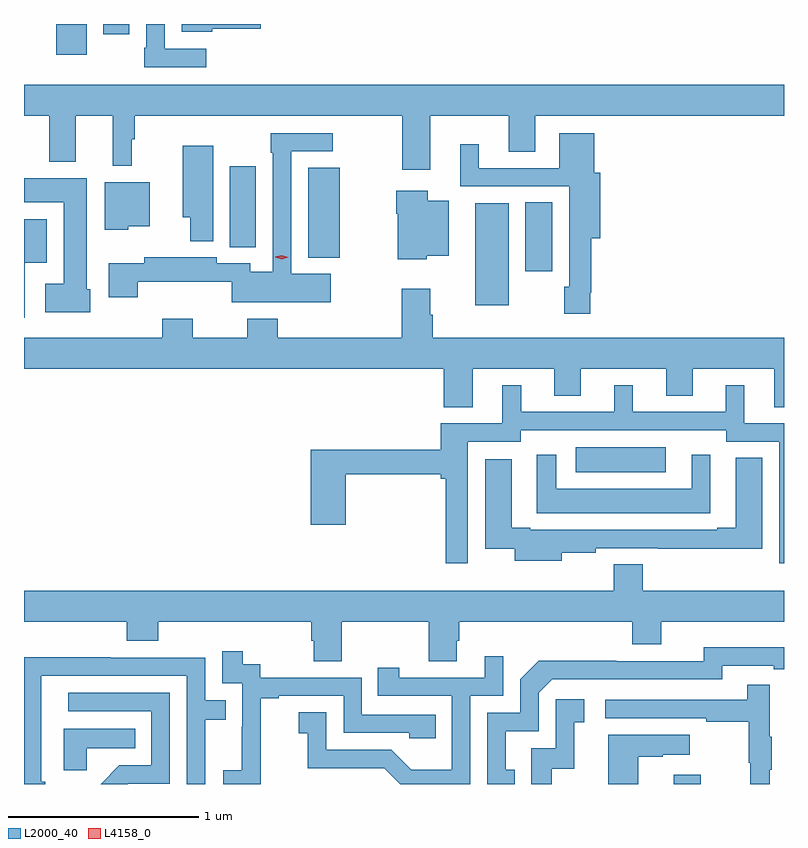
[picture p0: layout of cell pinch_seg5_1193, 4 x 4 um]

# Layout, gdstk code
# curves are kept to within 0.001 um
import gdstk
lib = gdstk.Library(unit=1e-6, precision=1e-09)
def R(c, l, rs):  # rectangles x0, y0, x1, y1
    for r in rs: c.add(gdstk.rectangle(r[:2], r[2:], *l))
def P(c, l, *ps):  # polygons
    for p in ps: c.add(gdstk.Polygon(p, *l))
L2000_40 = (2000, 40)
L4158_0 = (4158, 0)

pinch_seg5_1193 = lib.new_cell('pinch_seg5_1193')
R(pinch_seg5_1193, L2000_40, [(439.415,897.199,439.555,897.247), (438.897,898.841,439.372,898.972), (438.368,899.72,438.544,900.256), (438.632,899.898,438.775,900.26), (437.489,899.969,437.656,900.443), (437.078,900.025,437.215,900.451), (436.163,901.037,436.324,901.199), (436.412,901.146,436.549,901.199)])
P(pinch_seg5_1193, L2000_40, [(436.954,901.068),(436.734,901.068),(436.734,901.199),(436.638,901.199),(436.638,901.075),(436.626,901.075),(436.626,900.972),(436.954,900.972)],
  [(436.986,901.174),(437.239,901.174),(437.239,901.199),(436.823,901.199),(436.823,901.157),(436.986,901.157)],
  [(435.994,900.716),(436.127,900.716),(436.127,900.473),(436.267,900.473),(436.267,900.716),(436.46,900.716),(436.46,900.453),(436.562,900.453),(436.562,900.593),(436.577,900.593),(436.577,900.716),(437.986,900.716),(437.986,900.432),(438.133,900.432),(438.133,900.716),(438.545,900.716),(438.545,900.526),(438.685,900.526),(438.685,900.716),(439.994,900.716),(439.994,900.88),(435.994,900.88)],
  [(438.973,899.785),(438.98,899.785),(438.98,900.071),(439.027,900.071),(439.027,900.415),(438.994,900.415),(438.994,900.625),(438.812,900.625),(438.812,900.441),(438.388,900.441),(438.388,900.565),(438.29,900.565),(438.29,900.345),(438.864,900.345),(438.864,899.817),(438.838,899.817),(438.838,899.673),(438.973,899.673)],
  [(437.608,899.884),(437.4,899.884),(437.4,900.528),(437.62,900.528),(437.62,900.624),(437.292,900.624),(437.292,900.521),(437.304,900.521),(437.304,899.896),(437.184,899.896),(437.184,899.94),(437.008,899.94),(437.008,899.971),(436.628,899.971),(436.628,899.941),(436.439,899.941),(436.439,899.76),(436.592,899.76),(436.592,899.843),(437.088,899.843),(437.088,899.735),(437.608,899.735)],
  [(436.99,900.559),(436.829,900.559),(436.829,900.182),(436.868,900.182),(436.868,900.056),(436.99,900.056)],
  [(436.342,899.802),(436.324,899.802),(436.324,900.388),(435.994,900.388),(435.994,900.26),(436.202,900.26),(436.202,899.833),(436.107,899.833),(436.107,899.681),(436.342,899.681)],
  [(436.542,900.134),(436.657,900.134),(436.657,900.367),(436.418,900.367),(436.418,900.116),(436.542,900.116)],
  [(438.114,899.978),(438.229,899.978),(438.229,900.268),(438.118,900.268),(438.118,900.322),(437.953,900.322),(437.953,900.2),(437.96,900.2),(437.96,899.96),(438.114,899.96)],
  [(435.997,899.942),(436.114,899.942),(436.114,900.172),(435.994,900.172),(435.994,899.652),(435.997,899.652)],
  [(438.355,899.384),(438.785,899.384),(438.785,899.242),(438.925,899.242),(438.925,899.384),(439.373,899.384),(439.373,899.242),(439.513,899.242),(439.513,899.384),(439.943,899.384),(439.943,899.182),(439.994,899.182),(439.994,899.548),(438.146,899.548),(438.146,899.669),(438.133,899.669),(438.133,899.806),(437.981,899.806),(437.981,899.548),(437.33,899.548),(437.33,899.647),(437.17,899.647),(437.17,899.548),(436.881,899.548),(436.881,899.647),(436.721,899.647),(436.721,899.548),(435.994,899.548),(435.994,899.384),(438.203,899.384),(438.203,899.182),(438.355,899.182)],
  [(438.33,899.001),(438.609,899.001),(438.609,899.061),(439.689,899.061),(439.689,899.001),(439.968,899.001),(439.968,898.362),(439.994,898.362),(439.994,899.097),(439.786,899.097),(439.786,899.299),(439.688,899.299),(439.688,899.157),(439.198,899.157),(439.198,899.299),(439.1,899.299),(439.1,899.157),(438.61,899.157),(438.61,899.299),(438.512,899.299),(438.512,899.097),(438.188,899.097),(438.188,898.957),(437.504,898.957),(437.504,898.563),(437.687,898.563),(437.687,898.828),(438.188,898.828),(438.188,898.805),(438.214,898.805),(438.214,898.362),(438.33,898.362)],
  [(439.606,898.933),(439.508,898.933),(439.508,898.753),(438.796,898.753),(438.796,898.933),(438.692,898.933),(438.692,898.625),(439.606,898.625)],
  [(438.823,898.415),(439.002,898.415),(439.002,898.44),(439.333,898.44),(439.333,898.438),(439.879,898.438),(439.879,898.915),(439.739,898.915),(439.739,898.549),(439.643,898.549),(439.643,898.536),(438.658,898.536),(438.658,898.549),(438.562,898.549),(438.562,898.909),(438.422,898.909),(438.422,898.438),(438.578,898.438),(438.578,898.373),(438.823,898.373)],
  [(437.667,898.052),(438.124,898.052),(438.124,897.844),(438.271,897.844),(438.271,897.954),(438.284,897.954),(438.284,898.052),(439.196,898.052),(439.196,897.935),(439.348,897.935),(439.348,898.052),(439.994,898.052),(439.994,898.216),(439.25,898.216),(439.25,898.355),(439.097,898.355),(439.097,898.216),(435.994,898.216),(435.994,898.052),(436.535,898.052),(436.535,897.953),(436.7,897.953),(436.7,898.052),(437.507,898.052),(437.507,897.954),(437.519,897.954),(437.519,897.844),(437.667,897.844)],
  [(438.578,897.273),(438.529,897.273),(438.529,897.477),(438.702,897.477),(438.702,897.678),(438.774,897.75),(439.668,897.75),(439.668,897.822),(439.94,897.822),(439.94,897.802),(439.994,897.802),(439.994,897.918),(439.572,897.919),(439.572,897.846),(439.112,897.846),(439.112,897.848),(438.704,897.848),(438.606,897.75),(438.606,897.573),(438.432,897.573),(438.432,897.199),(438.578,897.199)],
  [(437.241,897.367),(437.24,897.367),(437.24,897.651),(437.335,897.651),(437.335,897.663),(437.676,897.663),(437.676,897.468),(438.021,897.468),(438.021,897.441),(438.161,897.441),(438.161,897.564),(437.772,897.564),(437.772,897.759),(437.238,897.759),(437.238,897.828),(437.146,897.828),(437.146,897.898),(437.037,897.898),(437.037,897.729),(437.142,897.729),(437.142,897.5),(437.141,897.5),(437.141,897.271),(437.043,897.271),(437.043,897.199),(437.241,897.199)],
  [(438.342,897.663),(438.516,897.663),(438.516,897.871),(438.419,897.871),(438.419,897.759),(437.968,897.759),(437.968,897.811),(437.857,897.811),(437.857,897.663),(438.246,897.663),(438.246,897.274),(438.032,897.274),(437.928,897.378),(437.586,897.378),(437.586,897.577),(437.439,897.577),(437.439,897.467),(437.488,897.467),(437.488,897.282),(437.891,897.282),(437.974,897.199),(438.342,897.199)],
  [(436.105,897.21),(436.086,897.21),(436.086,897.768),(436.851,897.768),(436.851,897.199),(436.947,897.199),(436.947,897.538),(437.057,897.538),(437.057,897.639),(436.947,897.639),(436.947,897.864),(436.451,897.864),(436.451,897.866),(435.994,897.866),(435.994,897.199),(436.105,897.199)],
  [(439.919,897.275),(439.93,897.275),(439.93,897.449),(439.919,897.449),(439.919,897.721),(439.801,897.721),(439.801,897.642),(439.053,897.642),(439.053,897.546),(439.585,897.546),(439.585,897.526),(439.809,897.526),(439.809,897.312),(439.816,897.312),(439.816,897.199),(439.919,897.199)],
  [(436.542,897.201),(436.761,897.201),(436.761,897.678),(436.227,897.678),(436.227,897.582),(436.665,897.582),(436.665,897.297),(436.496,897.297),(436.398,897.199),(436.54,897.199)],
  [(438.772,897.279),(438.89,897.279),(438.89,897.525),(438.943,897.525),(438.943,897.646),(438.792,897.646),(438.792,897.387),(438.663,897.387),(438.663,897.199),(438.772,897.199)],
  [(436.323,897.386),(436.58,897.386),(436.58,897.49),(436.202,897.49),(436.202,897.271),(436.323,897.271)],
  [(439.228,897.343),(439.355,897.343),(439.355,897.353),(439.498,897.353),(439.498,897.457),(439.07,897.457),(439.07,897.199),(439.228,897.199)])
P(pinch_seg5_1193, L4158_0, [(437.351,899.962),(437.316,899.972),(437.316,899.972),(437.316,899.973),(437.351,899.982),(437.386,899.971),(437.386,899.971),(437.386,899.971)])

lib.write_gds('pinch_seg5_1193.gds')
